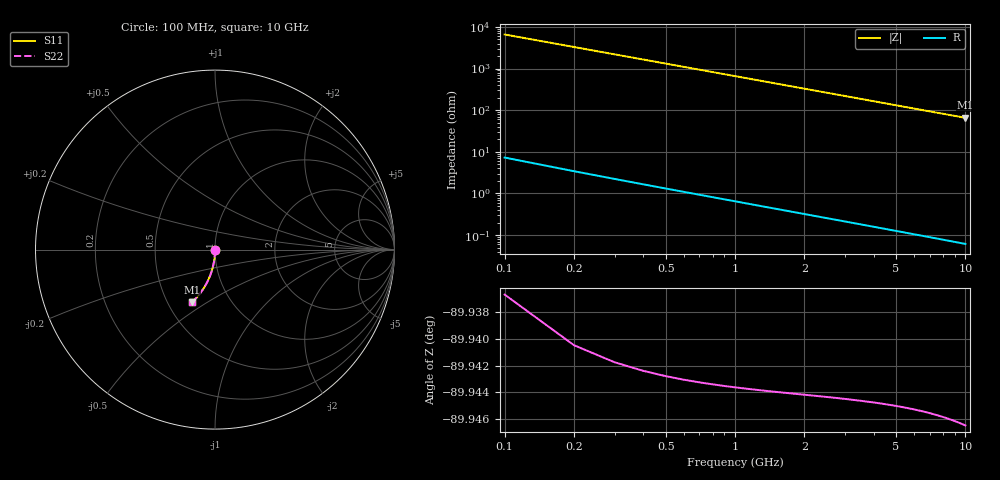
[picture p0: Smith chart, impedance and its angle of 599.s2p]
# Hz S RI R 50.00
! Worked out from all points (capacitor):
!   100 points, 100 MHz to 10 GHz, reference 50 ohm
!   read as one part in shunt: C = 241 fF near 100 MHz
!   lowest |Z| = 65.7 ohm at 10 GHz (marker M1)
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1e8  9.33e-05 -0.00337  0.9999 -0.00421  0.9999 -0.00421  9.33e-05 -0.00337
2e8  4.78e-05 -0.00674  0.9998 -0.00842  0.9998 -0.00842  4.78e-05 -0.00674
3e8  -2.62e-05 -0.0101  0.9997 -0.0126  0.9997 -0.0126  -2.62e-05 -0.0101
4e8  -0.000129 -0.0135  0.9996 -0.0168  0.9996 -0.0168  -0.000129 -0.0135
5e8  -0.00026 -0.0168  0.9995 -0.021  0.9995 -0.021  -0.00026 -0.0168
6e8  -0.000419 -0.0202  0.9993 -0.0252  0.9993 -0.0252  -0.000419 -0.0202
7e8  -0.000606 -0.0236  0.9991 -0.0295  0.9991 -0.0295  -0.000606 -0.0236
8e8  -0.000822 -0.0269  0.9989 -0.0337  0.9989 -0.0337  -0.000822 -0.0269
9e8  -0.00107 -0.0303  0.9987 -0.0379  0.9987 -0.0379  -0.00107 -0.0303
1.1e9  -0.00164 -0.037  0.9981 -0.0463  0.9981 -0.0463  -0.00164 -0.037
1.4e9  -0.00271 -0.0471  0.997 -0.0588  0.997 -0.0588  -0.00271 -0.0471
1.8e9  -0.00454 -0.0604  0.9951 -0.0756  0.9951 -0.0756  -0.00454 -0.0604
2.1e9  -0.0062 -0.0704  0.9934 -0.0881  0.9934 -0.0881  -0.0062 -0.0704
2.5e9  -0.0088 -0.0836  0.9907 -0.1047  0.9907 -0.1047  -0.0088 -0.0836
2.9e9  -0.0119 -0.0967  0.9876 -0.1212  0.9876 -0.1212  -0.0119 -0.0967
3.4e9  -0.0163 -0.1129  0.9831 -0.1416  0.9831 -0.1416  -0.0163 -0.1129
4.2e9  -0.0247 -0.1383  0.9744 -0.1739  0.9744 -0.1739  -0.0247 -0.1383
5.1e9  -0.0362 -0.1661  0.9627 -0.2093  0.9627 -0.2093  -0.0362 -0.1661
5.9e9  -0.048 -0.1898  0.9505 -0.2398  0.9505 -0.2398  -0.048 -0.1898
6.7e9  -0.0612 -0.2124  0.9369 -0.2694  0.9369 -0.2694  -0.0612 -0.2124
8.4e9  -0.0936 -0.2568  0.9036 -0.3286  0.9036 -0.3286  -0.0936 -0.2568
1e10  -0.1283 -0.2932  0.8677 -0.3791  0.8677 -0.3791  -0.1283 -0.2932
